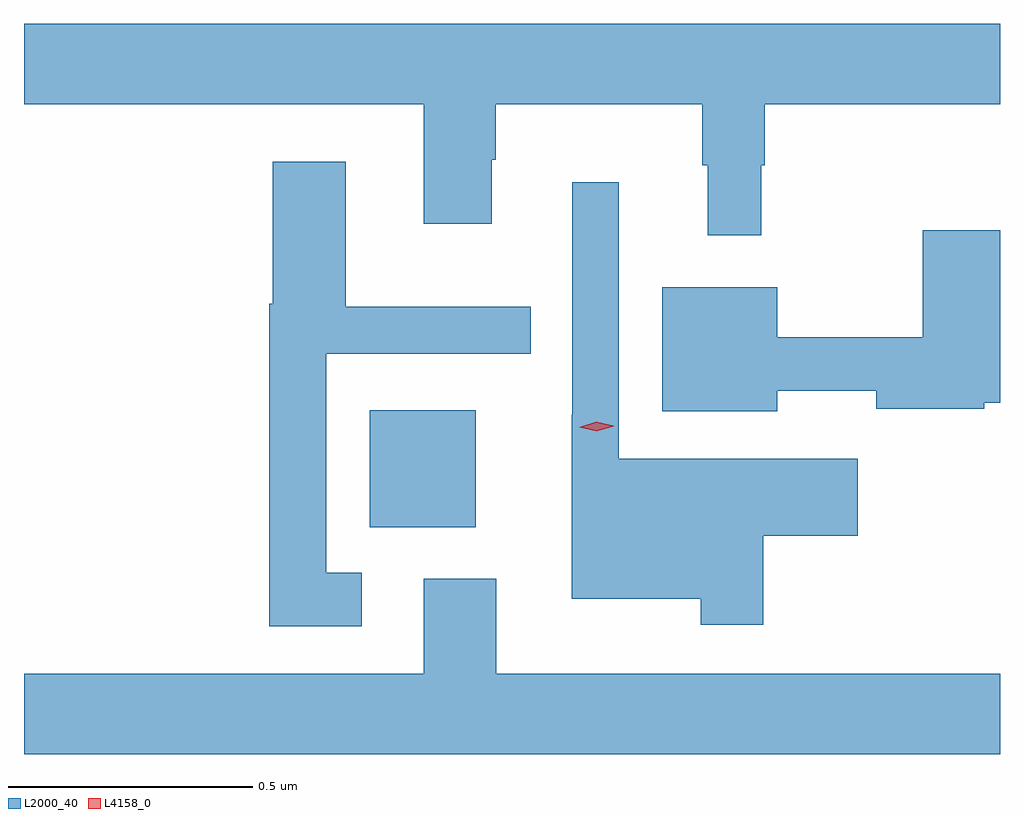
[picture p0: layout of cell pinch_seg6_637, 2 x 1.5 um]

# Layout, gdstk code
import gdstk
lib = gdstk.Library(unit=1e-6, precision=1e-09)
def R(c, l, rs):  # rectangles x0, y0, x1, y1
    for r in rs: c.add(gdstk.rectangle(r[:2], r[2:], *l))
def P(c, l, *ps):  # polygons
    for p in ps: c.add(gdstk.Polygon(p, *l))
L2000_40 = (2000, 40)
L4158_0 = (4158, 0)

pinch_seg6_637 = lib.new_cell('pinch_seg6_637')
R(pinch_seg6_637, L2000_40, [(456.14,970.445,456.358,970.684)])
P(pinch_seg6_637, L2000_40, [(456.943,971.186),(456.95,971.186),(456.95,971.312),(457.432,971.312),(457.432,971.476),(455.432,971.476),(455.432,971.312),(456.251,971.312),(456.251,971.067),(456.391,971.067),(456.391,971.198),(456.399,971.198),(456.399,971.312),(456.822,971.312),(456.822,971.186),(456.833,971.186),(456.833,971.043),(456.943,971.043)],
  [(456.124,970.351),(456.051,970.351),(456.051,970.8),(456.47,970.8),(456.47,970.897),(456.091,970.897),(456.091,971.194),(455.942,971.194),(455.942,970.903),(455.935,970.903),(455.935,970.242),(456.124,970.242)],
  [(456.947,970.427),(457.141,970.427),(457.141,970.585),(456.651,970.585),(456.651,971.152),(456.555,971.152),(456.555,970.675),(456.554,970.675),(456.554,970.298),(456.819,970.298),(456.819,970.245),(456.947,970.245)],
  [(456.976,970.724),(457.178,970.724),(457.178,970.688),(457.4,970.688),(457.4,970.7),(457.432,970.7),(457.432,971.053),(457.274,971.053),(457.274,970.834),(456.976,970.834),(456.976,970.936),(456.74,970.936),(456.74,970.682),(456.976,970.682)],
  [(457.432,970.144),(456.4,970.144),(456.4,970.339),(456.251,970.339),(456.251,970.144),(455.432,970.144),(455.432,969.98),(457.432,969.98)])
P(pinch_seg6_637, L4158_0, [(456.606,970.641),(456.57,970.65),(456.57,970.65),(456.57,970.65),(456.605,970.661),(456.641,970.653),(456.641,970.653),(456.641,970.652)])

lib.write_gds('pinch_seg6_637.gds')
